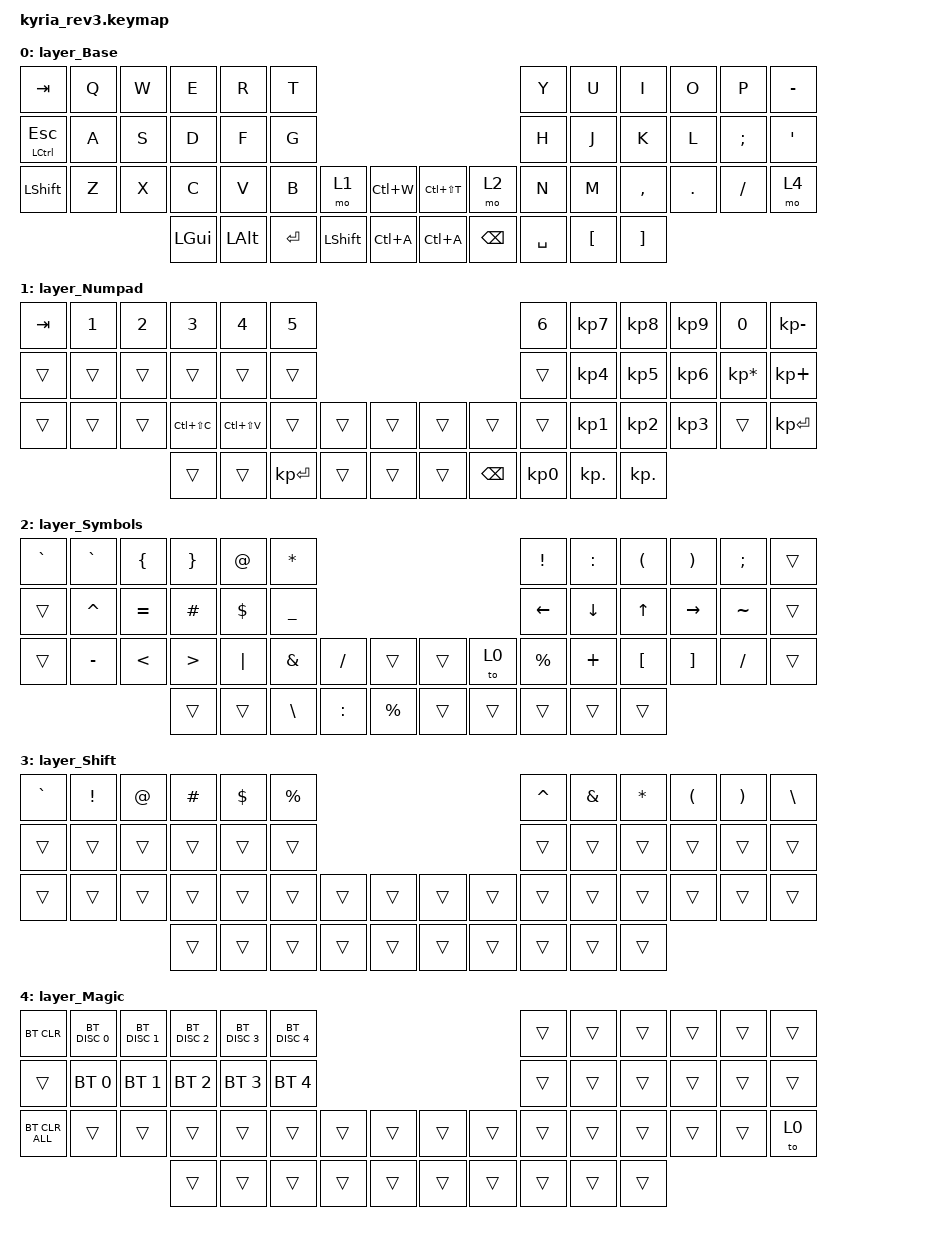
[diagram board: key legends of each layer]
/*
 * Copyright (c) 2023 The ZMK Contributors
 *
 * SPDX-License-Identifier: MIT
 */

#include <behaviors.dtsi>
#include <dt-bindings/zmk/bt.h>
#include <dt-bindings/zmk/keys.h>

/* Uncomment this block if using RGB
&led_strip {
    chain-length = <6>;
    // chain-length = <31>; // Uncomment if using both per-key and underglow LEDs
    // chain-length = <25>; // Uncomment if using only per-key LEDs.
};
 */

/ {
    keymap {
        compatible = "zmk,keymap";

        layer_Base {
            // ---------------------------------------------------------------------------------------------------------------------------------
            // |  ESC  |  Q  |  W  |  E   |  R   |  T   |                                          |  Y   |  U    |  I    |  O   |   P   |   \  |
            // |  TAB  |  A  |  S  |  D   |  F   |  G   |                                          |  H   |  J    |  K    |  L   |   ;   |   '  |
            // | SHIFT |  Z  |  X  |  C   |  V   |  B   | L SHIFT | L SHIFT |  | LAYER 1 | L SHIFT |  N   |  M    |  ,    |  .   |   /   | CTRL |
            //                     | GUI  | DEL  | RET  |  SPACE  |   ESC   |  |   RET   |  SPACE  | TAB  | BSPC  | R-ALT |

            bindings = <
&kp TAB           &kp Q  &kp W  &kp E     &kp R         &kp T                                                               &kp Y      &kp U             &kp I              &kp O    &kp P     &kp MINUS
&mt LCTRL ESCAPE  &kp A  &kp S  &kp D     &kp F         &kp G                                                               &kp H      &kp J             &kp K              &kp L    &kp SEMI  &kp SQT
&kp LSHFT         &kp Z  &kp X  &kp C     &kp V         &kp B      &mo 1           &kp LC(W)  &kp LC(LS(T))  &mo 2          &kp N      &kp M             &kp COMMA          &kp DOT  &kp FSLH  &mo 4
                                &kp LGUI  &kp LEFT_ALT  &kp ENTER  &kp LEFT_SHIFT  &kp LC(A)  &kp LC(A)      &kp BACKSPACE  &kp SPACE  &kp LEFT_BRACKET  &kp RIGHT_BRACKET
            >;
        };

        layer_Numpad {
            bindings = <
&kp TAB  &kp N1  &kp N2  &kp N3         &kp N4         &kp N5                                               &kp N6           &kp KP_NUMBER_7  &kp KP_NUMBER_8  &kp KP_NUMBER_9  &kp N0           &kp KP_MINUS
&trans   &trans  &trans  &trans         &trans         &trans                                               &trans           &kp KP_NUMBER_4  &kp KP_NUMBER_5  &kp KP_NUMBER_6  &kp KP_MULTIPLY  &kp KP_PLUS
&trans   &trans  &trans  &kp LC(LS(C))  &kp LC(LS(V))  &trans        &trans  &trans  &trans  &trans         &trans           &kp KP_NUMBER_1  &kp KP_NUMBER_2  &kp KP_NUMBER_3  &trans           &kp KP_ENTER
                         &trans         &trans         &kp KP_ENTER  &trans  &trans  &trans  &kp BACKSPACE  &kp KP_NUMBER_0  &kp KP_DOT       &kp KP_DOT
            >;
        };

        layer_Symbols {
            bindings = <
&kp GRAVE  &kp GRAVE  &kp LEFT_BRACE  &kp RIGHT_BRACE   &kp AT      &kp STAR                                               &kp EXCL        &kp COLON       &kp LEFT_PARENTHESIS  &kp RIGHT_PARENTHESIS  &kp SEMI   &trans
&trans     &kp CARET  &kp EQUAL       &kp HASH          &kp DOLLAR  &kp UNDER                                              &kp LEFT_ARROW  &kp DOWN_ARROW  &kp UP_ARROW          &kp RIGHT_ARROW        &kp TILDE  &trans
&trans     &kp MINUS  &kp LESS_THAN   &kp GREATER_THAN  &kp PIPE    &kp AMPERSAND  &kp SLASH  &trans       &trans  &to 0   &kp PERCENT     &kp PLUS        &kp LEFT_BRACKET      &kp RIGHT_BRACKET      &kp SLASH  &trans
                                      &trans            &trans      &kp BACKSLASH  &kp COLON  &kp PERCENT  &trans  &trans  &trans          &trans          &trans
            >;
        };

        layer_Shift {
            bindings = <
&kp GRAVE  &kp EXCL  &kp AT  &kp HASH  &kp DOLLAR  &kp PERCENT                                  &kp CARET  &kp AMPERSAND  &kp ASTRK  &kp LEFT_PARENTHESIS  &kp RIGHT_PARENTHESIS  &kp BACKSLASH
&trans     &trans    &trans  &trans    &trans      &trans                                       &trans     &trans         &trans     &trans                &trans                 &trans
&trans     &trans    &trans  &trans    &trans      &trans       &trans  &trans  &trans  &trans  &trans     &trans         &trans     &trans                &trans                 &trans
                             &trans    &trans      &trans       &trans  &trans  &trans  &trans  &trans     &trans         &trans
            >;
        };

        layer_Magic {
            // ---------------------------------------------------------------------------------------------------------------------------------
            // |       |      |BT_CLR|BTSEL0|BTSEL1|BTSEL2|                                         |      |      |      |      |      |      |
            // |       |      |      |BTSEL3|BTSEL4|      |                                         |      |      |      |      |      |      |
            // |       |      |      |      |      |      |      |      |      |      |      |      |      |      |      |      |      |      |
            //                       |      |      |      |      |      |      |      |      |      |      |      |      |

            bindings = <
&bt BT_CLR      &bt BT_DISC 0  &bt BT_DISC 1  &bt BT_DISC 2  &bt BT_DISC 3  &bt BT_DISC 4                                  &trans  &trans  &trans  &trans  &trans  &trans
&trans          &bt BT_SEL 0   &bt BT_SEL 1   &bt BT_SEL 2   &bt BT_SEL 3   &bt BT_SEL 4                                   &trans  &trans  &trans  &trans  &trans  &trans
&bt BT_CLR_ALL  &trans         &trans         &trans         &trans         &trans         &trans  &trans  &trans  &trans  &trans  &trans  &trans  &trans  &trans  &to 0
                                              &trans         &trans         &trans         &trans  &trans  &trans  &trans  &trans  &trans  &trans
            >;
        };
    };
};
